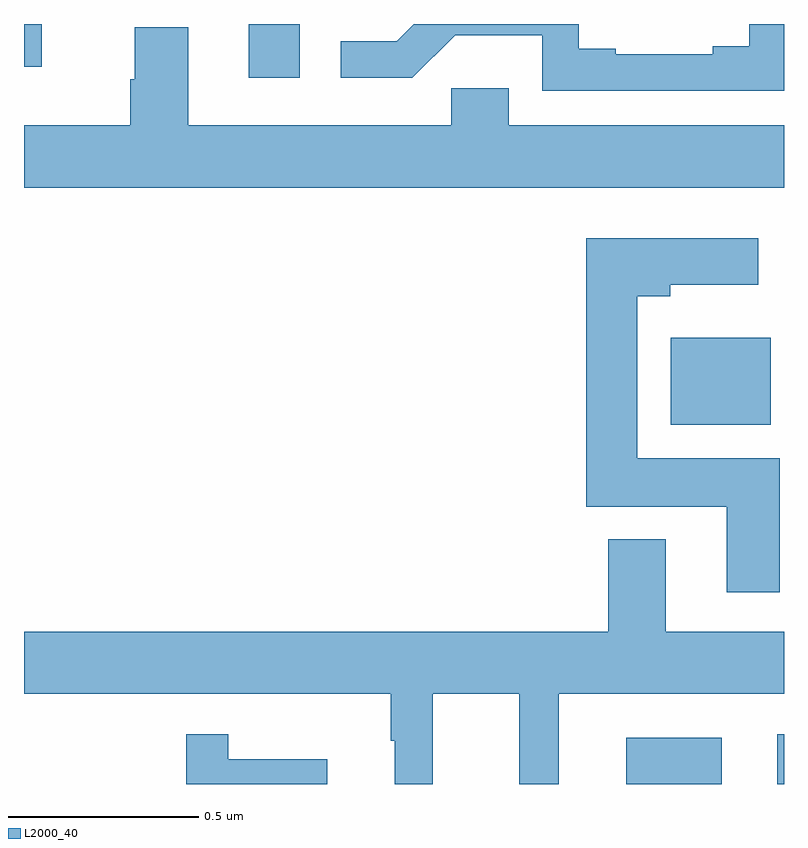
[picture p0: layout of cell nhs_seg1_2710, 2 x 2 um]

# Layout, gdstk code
import gdstk
lib = gdstk.Library(unit=1e-6, precision=1e-09)
def R(c, l, rs):  # rectangles x0, y0, x1, y1
    for r in rs: c.add(gdstk.rectangle(r[:2], r[2:], *l))
def P(c, l, *ps):  # polygons
    for p in ps: c.add(gdstk.Polygon(p, *l))
L2000_40 = (2000, 40)

nhs_seg1_2710 = lib.new_cell('nhs_seg1_2710')
R(nhs_seg1_2710, L2000_40, [(146.585,514.199,146.836,514.321), (146.982,514.199,147,514.33), (146.702,515.144,146.965,515.374), (145.592,516.057,145.726,516.199), (145,516.086,145.047,516.199)])
P(nhs_seg1_2710, L2000_40, [(147,516.199),(146.909,516.199),(146.909,516.14),(146.813,516.14),(146.813,516.12),(146.557,516.12),(146.557,516.134),(146.46,516.134),(146.46,516.199),(146.026,516.199),(145.981,516.154),(145.833,516.154),(145.833,516.057),(146.022,516.057),(146.135,516.17),(146.364,516.17),(146.364,516.024),(147,516.024)],
  [(147,515.932),(146.275,515.932),(146.275,516.03),(146.124,516.03),(146.124,515.932),(145.432,515.932),(145.432,516.19),(145.292,516.19),(145.292,516.053),(145.28,516.053),(145.28,515.932),(145,515.932),(145,515.768),(147,515.768)],
  [(146.989,515.056),(146.614,515.056),(146.614,515.483),(146.701,515.483),(146.701,515.513),(146.932,515.513),(146.932,515.635),(146.48,515.635),(146.48,514.928),(146.849,514.928),(146.849,514.704),(146.989,514.704)],
  [(146.076,514.436),(146.303,514.436),(146.303,514.199),(146.407,514.199),(146.407,514.436),(147,514.436),(147,514.6),(146.689,514.6),(146.689,514.843),(146.537,514.843),(146.537,514.6),(145,514.6),(145,514.436),(145.965,514.436),(145.965,514.313),(145.976,514.313),(145.976,514.199),(146.076,514.199)],
  [(145.798,514.264),(145.537,514.264),(145.537,514.33),(145.427,514.33),(145.427,514.199),(145.798,514.199)])

lib.write_gds('nhs_seg1_2710.gds')
